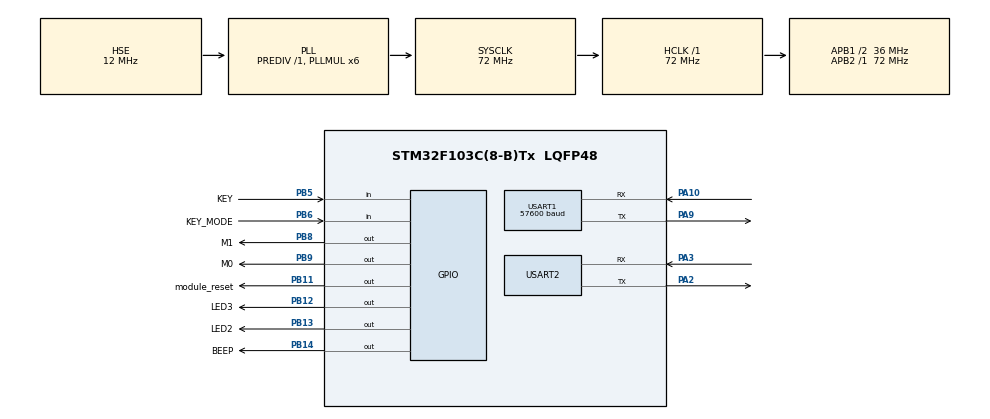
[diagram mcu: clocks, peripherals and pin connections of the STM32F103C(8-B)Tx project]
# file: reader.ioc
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Mcu.Family=STM32F1
Mcu.Name=STM32F103C(8-B)Tx
Mcu.Package=LQFP48
NVIC.PriorityGroup=NVIC_PRIORITYGROUP_4
NVIC.TIM1_UP_IRQn=true\:3\:0\:true\:false\:true\:true\:true
NVIC.USART1_IRQn=true\:0\:0\:false\:false\:true\:true\:true
NVIC.USART2_IRQn=true\:2\:0\:true\:false\:true\:true\:true
PA10.Mode=Asynchronous
PA10.Signal=USART1_RX
PA13.Mode=Serial_Wire
PA13.Signal=SYS_JTMS-SWDIO
PA14.Mode=Serial_Wire
PA14.Signal=SYS_JTCK-SWCLK
PA2.Mode=Asynchronous
PA2.Signal=USART2_TX
PA3.GPIO_PuPd=GPIO_PULLUP
PA3.Mode=Asynchronous
PA3.Signal=USART2_RX
PA9.Mode=Asynchronous
PA9.Signal=USART1_TX
PB11.GPIO_Label=module_reset
PB11.Signal=GPIO_Output
PB12.GPIO_Label=LED3
PB12.Signal=GPIO_Output
PB13.GPIO_Label=LED2
PB13.Signal=GPIO_Output
PB14.GPIO_Label=BEEP
PB14.Signal=GPIO_Output
PB5.GPIO_Label=KEY
PB5.GPIO_PuPd=GPIO_PULLUP
PB5.Signal=GPIO_Input
PB6.GPIO_Label=KEY_MODE
PB6.GPIO_PuPd=GPIO_PULLUP
PB6.Signal=GPIO_Input
PB8.GPIO_Label=M1
PB8.Signal=GPIO_Output
PB9.GPIO_Label=M0
PB9.Signal=GPIO_Output
PD0-OSC_IN.Mode=HSE-External-Oscillator
PD0-OSC_IN.Signal=RCC_OSC_IN
PD1-OSC_OUT.Mode=HSE-External-Oscillator
PD1-OSC_OUT.Signal=RCC_OSC_OUT
ProjectManager.HeapSize=0x200
ProjectManager.StackSize=0x400
ProjectManager.TargetToolchain=SW4STM32
RCC.AHBFreq_Value=72000000
RCC.APB1CLKDivider=RCC_HCLK_DIV2
RCC.APB1Freq_Value=36000000
RCC.APB1TimFreq_Value=72000000
RCC.APB2Freq_Value=72000000
RCC.APB2TimFreq_Value=72000000
RCC.HCLKFreq_Value=72000000
RCC.HSE_VALUE=12000000
RCC.PLLMUL=RCC_PLL_MUL6
RCC.PLLSourceVirtual=RCC_PLLSOURCE_HSE
RCC.SYSCLKFreq_VALUE=72000000
RCC.SYSCLKSource=RCC_SYSCLKSOURCE_PLLCLK
RCC.USBFreq_Value=72000000
TIM1.Period=7199
TIM1.Prescaler=3999
USART1.BaudRate=57600
USART1.VirtualMode=VM_ASYNC
USART2.VirtualMode=VM_ASYNC
VP_TIM1_VS_ClockSourceINT.Mode=Internal
board=custom

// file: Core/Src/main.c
/* USER CODE BEGIN Header */
/**
  ******************************************************************************
  * @file           : main.c
  * @brief          : Main program body
  ******************************************************************************
  * @attention
  *
  * <h2><center>&copy; Copyright (c) 2020 STMicroelectronics.
  * All rights reserved.</center></h2>
  *
  * This software component is licensed by ST under BSD 3-Clause license,
  * the "License"; You may not use this file except in compliance with the
  * License. You may obtain a copy of the License at:
  *                        opensource.org/licenses/BSD-3-Clause
  *
  ******************************************************************************
  */
/* USER CODE END Header */
#include "main.h"
#include "tim.h"
#include "usart.h"
#include "gpio.h"

/* USER CODE BEGIN Includes */
#include "card.h"
#include "mode.h"
#include "usrt.h"
#include "upper.h"
#include "flash.h"
/* USER CODE END Includes */

/* USER CODE BEGIN PTD */
#ifdef __GNUC__
#define PUTCHAR_PROTOTYPE int __io_putchar(int ch)
#else
#define PUTCHAR_PROTOTYPE int fputc(int ch, FILE *f)
#endif

PUTCHAR_PROTOTYPE {
    while ((USART1->SR & 0X40U) == 0);
    USART1->DR = (uint8_t) ch;
    return ch;
}

/* USER CODE END PTD */

/* USER CODE BEGIN PV */
uint8_t upper_time = 0, t, star_rfid = 0, wireless, key, ticks=0;
uint16_t wait = 0, m, reset, reset_set = 0, reset_time = 0, ti, tim;
/* USER CODE END PV */

void SystemClock_Config(void);

int main(void)
{

  /* MCU Configuration--------------------------------------------------------*/

  /* Reset of all peripherals, Initializes the Flash interface and the Systick. */
  HAL_Init();

  /* Configure the system clock */
  SystemClock_Config();

  /* Initialize all configured peripherals */
  MX_GPIO_Init();
  MX_USART1_UART_Init();
  MX_USART2_UART_Init();
  MX_TIM1_Init();
  /* USER CODE BEGIN 2 */
    HAL_GPIO_WritePin(module_reset_GPIO_Port, module_reset_Pin, GPIO_PIN_RESET);
    mode = FLASH_EEPROM_Read();
    if (mode > 30)
        mode = 30;
    HAL_Delay(50);
    HAL_GPIO_WritePin(M1_GPIO_Port,M1_Pin,GPIO_PIN_RESET);
    HAL_GPIO_WritePin(M0_GPIO_Port,M0_Pin,GPIO_PIN_RESET);
    HAL_GPIO_WritePin(LED2_GPIO_Port, LED2_Pin, GPIO_PIN_SET);
    HAL_GPIO_WritePin(LED3_GPIO_Port, LED3_Pin, GPIO_PIN_SET);
    HAL_GPIO_WritePin(module_reset_GPIO_Port, module_reset_Pin, GPIO_PIN_SET);
    HAL_UART_Receive_IT(&huart1, Commannd, 1);
    HAL_UART_Receive_IT(&huart2, ID_usart, 8);
  /* USER CODE END 2 */

  /* Infinite loop */
  /* USER CODE BEGIN WHILE */
    while (1) {
        HAL_GPIO_WritePin(BEEP_GPIO_Port,BEEP_Pin,GPIO_PIN_RESET);
        wireless = HAL_GPIO_ReadPin(KEY_MODE_GPIO_Port, KEY_MODE_Pin);
        key = HAL_GPIO_ReadPin(KEY_GPIO_Port, KEY_Pin);
        if (wireless == 1) {
            if (key==0&&star_rfid == 0) {
                HAL_TIM_Base_Start_IT(&htim1);
                star_rfid = 1;
            }
            if (key == 0){
                if(empty==1)
                    HAL_GPIO_WritePin(BEEP_GPIO_Port,BEEP_Pin,GPIO_PIN_SET);
                upper_back_w();
                HAL_Delay(30);
                HAL_GPIO_WritePin(BEEP_GPIO_Port,BEEP_Pin,GPIO_PIN_RESET);
                HAL_Delay(20);
            }
        } else if (upper_flag == 1 && wireless == 0) {
            if (star_rfid == 0) {
                HAL_TIM_Base_Start_IT(&htim1);
                star_rfid = 1;
            }
            if (empty_flag == 1) {
                HAL_GPIO_WritePin(LED2_GPIO_Port, LED2_Pin, GPIO_PIN_RESET);
                HAL_GPIO_WritePin(LED3_GPIO_Port, LED3_Pin, GPIO_PIN_SET);
                HAL_GPIO_WritePin(BEEP_GPIO_Port, BEEP_Pin, GPIO_PIN_SET);
            } else {
                HAL_GPIO_WritePin(LED3_GPIO_Port, LED3_Pin, GPIO_PIN_RESET);
                HAL_GPIO_WritePin(LED2_GPIO_Port, LED2_Pin, GPIO_PIN_SET);
            }
            upper_get();
        } else {
            HAL_GPIO_WritePin(LED3_GPIO_Port, LED3_Pin, GPIO_PIN_RESET);
            HAL_GPIO_WritePin(LED2_GPIO_Port, LED2_Pin, GPIO_PIN_SET);
            HAL_GPIO_WritePin(BEEP_GPIO_Port, BEEP_Pin, GPIO_PIN_RESET);
        }
    /* USER CODE END WHILE */

    }
}

void SystemClock_Config(void)
{
  RCC_OscInitTypeDef RCC_OscInitStruct = {0};
  RCC_ClkInitTypeDef RCC_ClkInitStruct = {0};

  /** Initializes the RCC Oscillators according to the specified parameters
  * in the RCC_OscInitTypeDef structure.
  */
  RCC_OscInitStruct.OscillatorType = RCC_OSCILLATORTYPE_HSE;
  RCC_OscInitStruct.HSEState = RCC_HSE_ON;
  RCC_OscInitStruct.HSEPredivValue = RCC_HSE_PREDIV_DIV1;
  RCC_OscInitStruct.HSIState = RCC_HSI_ON;
  RCC_OscInitStruct.PLL.PLLState = RCC_PLL_ON;
  RCC_OscInitStruct.PLL.PLLSource = RCC_PLLSOURCE_HSE;
  RCC_OscInitStruct.PLL.PLLMUL = RCC_PLL_MUL6;
  if (HAL_RCC_OscConfig(&RCC_OscInitStruct) != HAL_OK)
  {
    Error_Handler();
  }
  /** Initializes the CPU, AHB and APB buses clocks
  */
  RCC_ClkInitStruct.ClockType = RCC_CLOCKTYPE_HCLK|RCC_CLOCKTYPE_SYSCLK
                              |RCC_CLOCKTYPE_PCLK1|RCC_CLOCKTYPE_PCLK2;
  RCC_ClkInitStruct.SYSCLKSource = RCC_SYSCLKSOURCE_PLLCLK;
  RCC_ClkInitStruct.AHBCLKDivider = RCC_SYSCLK_DIV1;
  RCC_ClkInitStruct.APB1CLKDivider = RCC_HCLK_DIV2;
  RCC_ClkInitStruct.APB2CLKDivider = RCC_HCLK_DIV1;

  if (HAL_RCC_ClockConfig(&RCC_ClkInitStruct, FLASH_LATENCY_2) != HAL_OK)
  {
    Error_Handler();
  }
}

/* USER CODE BEGIN 4 */
void HAL_TIM_PeriodElapsedCallback(TIM_HandleTypeDef *htim) {
    if (htim->Instance == htim1.Instance) {
        ti = 0;
        ticks++;
        if (ticks>=5)
        {
            ID_Read();
            ticks=0;
        }
        while (empty_flag == 0 && ti < 20) {
            ID_Read();
            HAL_Delay(5);
            ti++;
        }
        if (mode_flag==1) {
            FLASH_EEPROM_Write(mode);
            mode=FLASH_EEPROM_Read();
            __set_FAULTMASK(1);
            NVIC_SystemReset();
        }
        mode_flag=0;
        empty_flag = 0;
    }}
/* USER CODE END 4 */

void Error_Handler(void)
{
}

/************************ (C) COPYRIGHT STMicroelectronics *****END OF FILE****/
